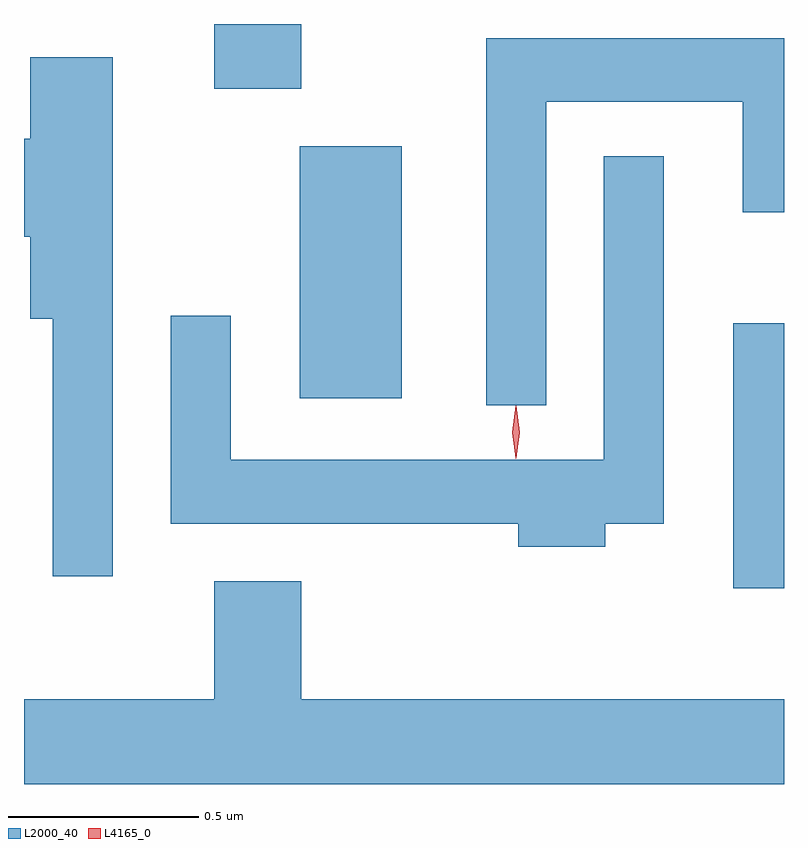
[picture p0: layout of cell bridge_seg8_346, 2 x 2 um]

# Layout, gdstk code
import gdstk
lib = gdstk.Library(unit=1e-6, precision=1e-09)
def R(c, l, rs):  # rectangles x0, y0, x1, y1
    for r in rs: c.add(gdstk.rectangle(r[:2], r[2:], *l))
def P(c, l, *ps):  # polygons
    for p in ps: c.add(gdstk.Polygon(p, *l))
L2000_40 = (2000, 40)
L4165_0 = (4165, 0)

bridge_seg8_346 = lib.new_cell('bridge_seg8_346')
R(bridge_seg8_346, L2000_40, [(874.266,1885.816,874.4,1886.514), (873.126,1886.316,873.394,1886.979), (872.901,1887.131,873.129,1887.301)])
P(bridge_seg8_346, L2000_40, [(873.774,1887.096),(874.291,1887.096),(874.291,1886.806),(874.4,1886.806),(874.4,1887.264),(873.616,1887.264),(873.616,1886.298),(873.774,1886.298)],
  [(872.634,1887.214),(872.416,1887.214),(872.416,1886.999),(872.4,1886.999),(872.4,1886.741),(872.416,1886.741),(872.416,1886.526),(872.476,1886.526),(872.476,1885.848),(872.634,1885.848)],
  [(873.929,1885.986),(874.084,1885.986),(874.084,1886.953),(873.926,1886.953),(873.926,1886.154),(872.944,1886.154),(872.944,1886.533),(872.786,1886.533),(872.786,1885.986),(873.701,1885.986),(873.701,1885.926),(873.929,1885.926)],
  [(874.4,1885.524),(873.129,1885.524),(873.129,1885.834),(872.901,1885.834),(872.901,1885.524),(872.4,1885.524),(872.4,1885.301),(874.4,1885.301)])
P(bridge_seg8_346, L4165_0, [(873.694,1886.157),(873.694,1886.158),(873.685,1886.227),(873.694,1886.296),(873.695,1886.296),(873.695,1886.296),(873.705,1886.227),(873.695,1886.158)],
  [(873.695,1886.159),(873.694,1886.16),(873.685,1886.226),(873.694,1886.292),(873.695,1886.293),(873.695,1886.292),(873.705,1886.226),(873.695,1886.16)])

lib.write_gds('bridge_seg8_346.gds')
